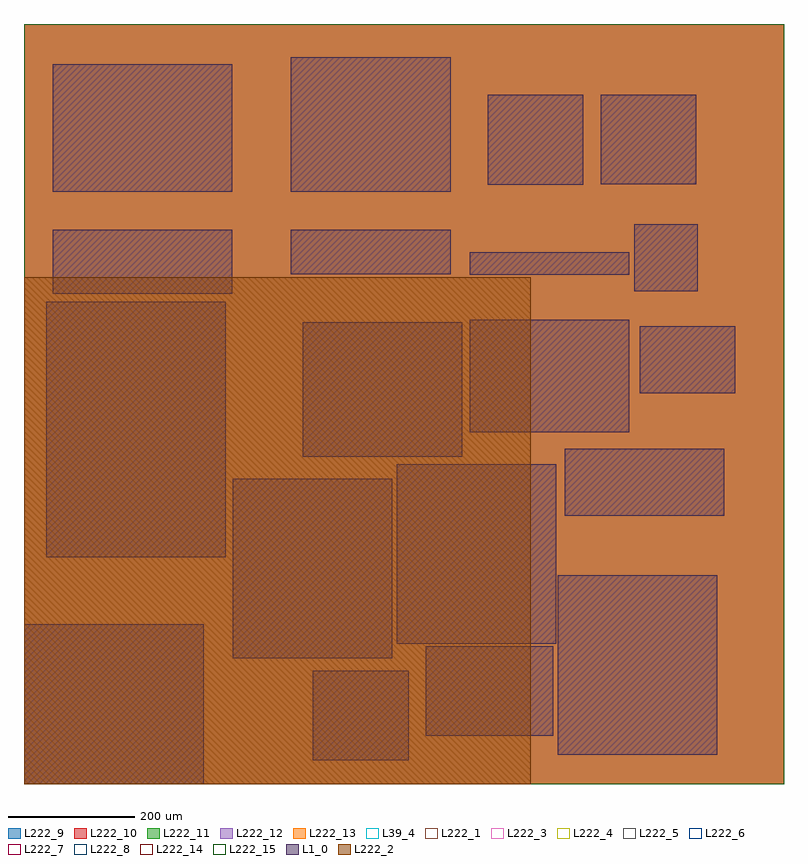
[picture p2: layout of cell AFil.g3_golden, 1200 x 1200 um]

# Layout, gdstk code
import gdstk
lib = gdstk.Library(unit=1e-6, precision=1e-09)
def R(c, l, rs):  # rectangles x0, y0, x1, y1
    for r in rs: c.add(gdstk.rectangle(r[:2], r[2:], *l))
def A(c, l, x, y, w, h, nx, ny, dx, dy):  # array of equal rectangles
    R(c, l, [(x+i*dx, y+j*dy, x+i*dx+w, y+j*dy+h) for i in range(nx) for j in range(ny)])
L1_0 = (1, 0)
L39_4 = (39, 4)
L222_1 = (222, 1)
L222_2 = (222, 2)
L222_3 = (222, 3)
L222_4 = (222, 4)
L222_5 = (222, 5)
L222_6 = (222, 6)
L222_7 = (222, 7)
L222_8 = (222, 8)
L222_9 = (222, 9)
L222_10 = (222, 10)
L222_11 = (222, 11)
L222_12 = (222, 12)
L222_13 = (222, 13)
L222_14 = (222, 14)
L222_15 = (222, 15)

afil_g3_golden = lib.new_cell('AFil.g3_golden')
A(afil_g3_golden, L1_0, 0, 0, 35, 50, 8, 5, 35.5, 50.5)
A(afil_g3_golden, L1_0, 456.17, 37.335, 50, 35, 3, 4, 50.5, 35.5)
A(afil_g3_golden, L1_0, 842.445, 46.18, 50, 35, 5, 8, 50.5, 35.5)
A(afil_g3_golden, L1_0, 634.26, 75.921, 50, 35, 4, 4, 50.5, 35.5)
A(afil_g3_golden, L1_0, 329.688, 198.282, 50, 35, 5, 8, 50.5, 35.5)
A(afil_g3_golden, L1_0, 588.419, 221.176, 50, 35, 5, 8, 50.5, 35.5)
A(afil_g3_golden, L1_0, 35.235, 357.9, 35, 50, 8, 8, 35.5, 50.5)
A(afil_g3_golden, L1_0, 853.765, 423.64, 50, 35, 5, 3, 50.5, 35.5)
A(afil_g3_golden, L1_0, 439.975, 516.599, 50, 35, 5, 6, 50.5, 35.5)
A(afil_g3_golden, L1_0, 703.767, 555.78, 50, 35, 5, 5, 50.5, 35.5)
A(afil_g3_golden, L1_0, 972.075, 616.935, 50, 35, 3, 3, 50.5, 35.5)
A(afil_g3_golden, L1_0, 45.519, 774.407, 35, 50, 8, 2, 35.5, 50.5)
A(afil_g3_golden, L1_0, 703.767, 804.28, 50, 35, 5, 1, 50.5, 0)
A(afil_g3_golden, L1_0, 421.515, 804.71, 50, 35, 5, 2, 50.5, 35.5)
A(afil_g3_golden, L1_0, 45.519, 934.855, 35, 50, 8, 4, 35.5, 50.5)
A(afil_g3_golden, L1_0, 421.515, 935.158, 50, 35, 5, 6, 50.5, 35.5)
A(afil_g3_golden, L1_0, 731.901, 946.403, 50, 35, 3, 4, 50.5, 35.5)
A(afil_g3_golden, L1_0, 910.625, 946.998, 50, 35, 1, 4, 0, 35.5)
R(afil_g3_golden, L1_0, [(963.568,777.942,1013.568,812.942), (963.568,777.942,1013.568,812.942), (1014.068,777.942,1064.068,812.942), (1014.068,777.942,1064.068,812.942), (963.568,813.442,1013.568,848.442), (963.568,813.442,1013.568,848.442), (1014.068,813.442,1064.068,848.442), (1014.068,813.442,1064.068,848.442), (963.568,848.942,1013.568,883.942), (963.568,848.942,1013.568,883.942), (1014.068,848.942,1064.068,883.942), (1014.068,848.942,1064.068,883.942), (961.125,946.998,1011.125,981.998), (961.125,946.998,1011.125,981.998), (1011.625,946.998,1061.625,981.998), (1011.625,946.998,1061.625,981.998), (961.125,982.498,1011.125,1017.498), (961.125,982.498,1011.125,1017.498), (1011.625,982.498,1061.625,1017.498), (1011.625,982.498,1061.625,1017.498), (961.125,1017.998,1011.125,1052.998), (961.125,1017.998,1011.125,1052.998), (1011.625,1017.998,1061.625,1052.998), (1011.625,1017.998,1061.625,1052.998), (961.125,1053.498,1011.125,1088.498), (961.125,1053.498,1011.125,1088.498), (1011.625,1053.498,1061.625,1088.498), (1011.625,1053.498,1061.625,1088.498)])
R(afil_g3_golden, L39_4, [(0,0,1200,1200)])
R(afil_g3_golden, L222_1, [(0,0,1200,1200)])
R(afil_g3_golden, L222_2, [(0,0,800,800)])
R(afil_g3_golden, L222_3, [(0,0,1200,1200)])
R(afil_g3_golden, L222_4, [(0,0,1200,1200)])
R(afil_g3_golden, L222_5, [(0,0,1200,1200)])
R(afil_g3_golden, L222_6, [(0,0,1200,1200)])
R(afil_g3_golden, L222_7, [(0,0,1200,1200)])
R(afil_g3_golden, L222_8, [(0,0,1200,1200)])
R(afil_g3_golden, L222_9, [(0,0,800,800), (400,0,1200,800), (0,400,800,1200), (400,400,1200,1200)])
R(afil_g3_golden, L222_10, [(0,0,800,800), (400,0,1200,800), (0,400,800,1200), (400,400,1200,1200)])
R(afil_g3_golden, L222_11, [(0,0,800,800), (400,0,1200,800), (0,400,800,1200), (400,400,1200,1200)])
R(afil_g3_golden, L222_12, [(0,0,800,800), (400,0,1200,800), (0,400,800,1200), (400,400,1200,1200)])
R(afil_g3_golden, L222_13, [(0,0,800,800), (400,0,1200,800), (0,400,800,1200), (400,400,1200,1200)])
R(afil_g3_golden, L222_14, [(0,0,1200,1200)])
R(afil_g3_golden, L222_15, [(0,0,1200,1200)])

lib.write_gds('AFil.g3_golden.gds')
